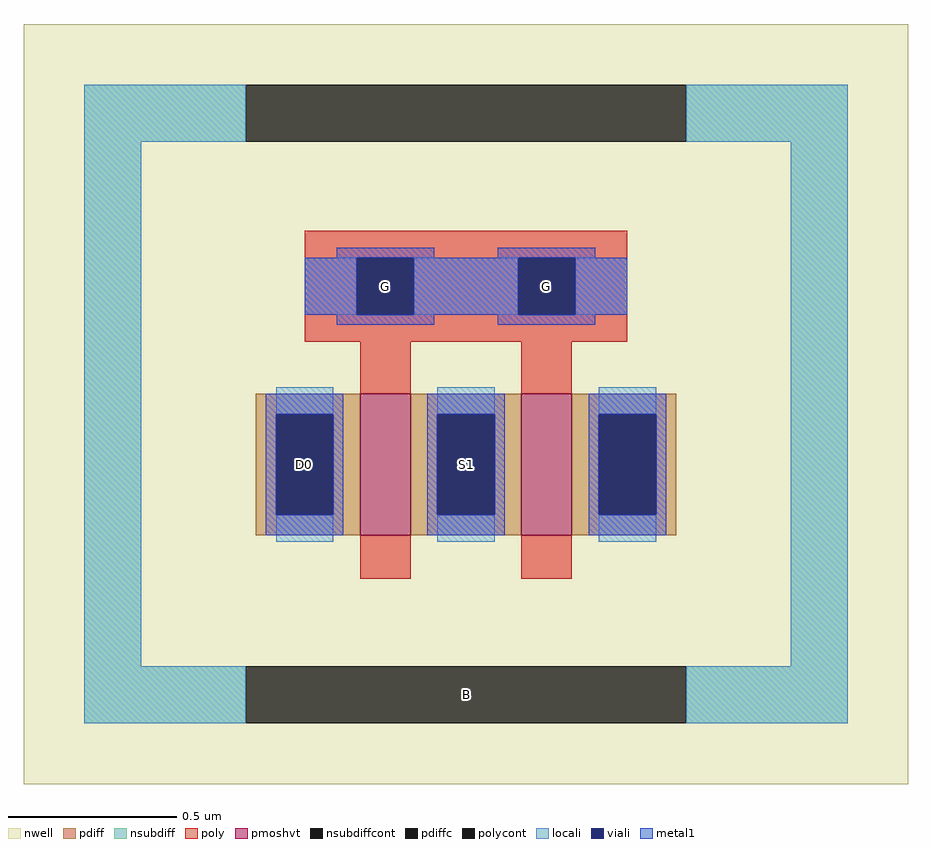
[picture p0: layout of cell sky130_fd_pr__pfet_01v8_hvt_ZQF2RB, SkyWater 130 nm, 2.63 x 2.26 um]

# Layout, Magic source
magic
tech sky130A
magscale 1 2
<< nwell >>
rect -263 -226 263 226
<< pmoshvt >>
rect -63 -78 -33 6
rect 33 -78 63 6
<< pdiff >>
rect -125 -6 -63 6
rect -125 -66 -113 -6
rect -79 -66 -63 -6
rect -125 -78 -63 -66
rect -33 -6 33 6
rect -33 -66 -17 -6
rect 17 -66 33 -6
rect -33 -78 33 -66
rect 63 -6 125 6
rect 63 -66 79 -6
rect 113 -66 125 -6
rect 63 -78 125 -66
<< pdiffc >>
rect -113 -66 -79 -6
rect -17 -66 17 -6
rect 79 -66 113 -6
<< nsubdiff >>
rect -227 156 -131 190
rect 131 156 227 190
rect -227 -156 -193 156
rect 193 -156 227 156
rect -227 -190 -131 -156
rect 131 -190 227 -156
<< nsubdiffcont >>
rect -131 156 131 190
rect -131 -190 131 -156
<< poly >>
rect -96 87 96 103
rect -96 53 -65 87
rect -31 53 31 87
rect 65 53 96 87
rect -96 37 96 53
rect -63 6 -33 37
rect 33 6 63 37
rect -63 -104 -33 -78
rect 33 -104 63 -78
<< polycont >>
rect -65 53 -31 87
rect 31 53 65 87
<< locali >>
rect -227 156 -131 190
rect 131 156 227 190
rect -227 -156 -193 156
rect -96 53 -65 87
rect -31 53 31 87
rect 65 53 96 87
rect -113 -6 -79 10
rect -113 -82 -79 -66
rect -17 -6 17 10
rect -17 -82 17 -66
rect 79 -6 113 10
rect 79 -82 113 -66
rect 193 -156 227 156
rect -227 -190 -131 -156
rect 131 -190 227 -156
<< viali >>
rect -65 53 -31 87
rect 31 53 65 87
rect -113 -66 -79 -6
rect -17 -66 17 -6
rect 79 -66 113 -6
<< metal1 >>
rect -77 87 -19 93
rect 19 87 77 93
rect -96 53 -65 87
rect -31 53 31 87
rect 65 53 96 87
rect -77 47 -19 53
rect 19 47 77 53
rect -119 -6 -73 6
rect -119 -66 -113 -6
rect -79 -66 -73 -6
rect -119 -78 -73 -66
rect -23 -6 23 6
rect -23 -66 -17 -6
rect 17 -66 23 -6
rect -23 -78 23 -66
rect 73 -6 119 6
rect 73 -66 79 -6
rect 113 -66 119 -6
rect 73 -78 119 -66
<< labels >>
rlabel nsubdiffcont 0 -173 0 -173 0 B
port 1 nsew
rlabel pdiffc -96 -36 -96 -36 0 D0
port 2 nsew
rlabel polycont -48 70 -48 70 0 G
port 3 nsew
rlabel pdiffc 0 -36 0 -36 0 S1
port 4 nsew
rlabel polycont 48 70 48 70 0 G
port 3 nsew
<< properties >>
string FIXED_BBOX -210 -173 210 173
string gencell sky130_fd_pr__pfet_01v8_hvt
string library sky130
string parameters w 0.42 l 0.15 m 1 nf 2 diffcov 100 polycov 100 guard 1 glc 0 grc 0 gtc 1 gbc 1 tbcov 100 rlcov 100 topc 1 botc 0 poverlap 0 doverlap 1 lmin 0.15 wmin 0.42 class mosfet compatible {sky130_fd_pr__pfet_01v8  sky130_fd_pr__pfet_01v8_lvt sky130_fd_pr__pfet_01v8_hvt  sky130_fd_pr__pfet_g5v0d10v5} full_metal 1 conn_gates 1 viasrc 100 viadrn 100 viagate 100 viagb 0 viagr 0 viagl 0 viagt 0 doports 1
<< end >>
